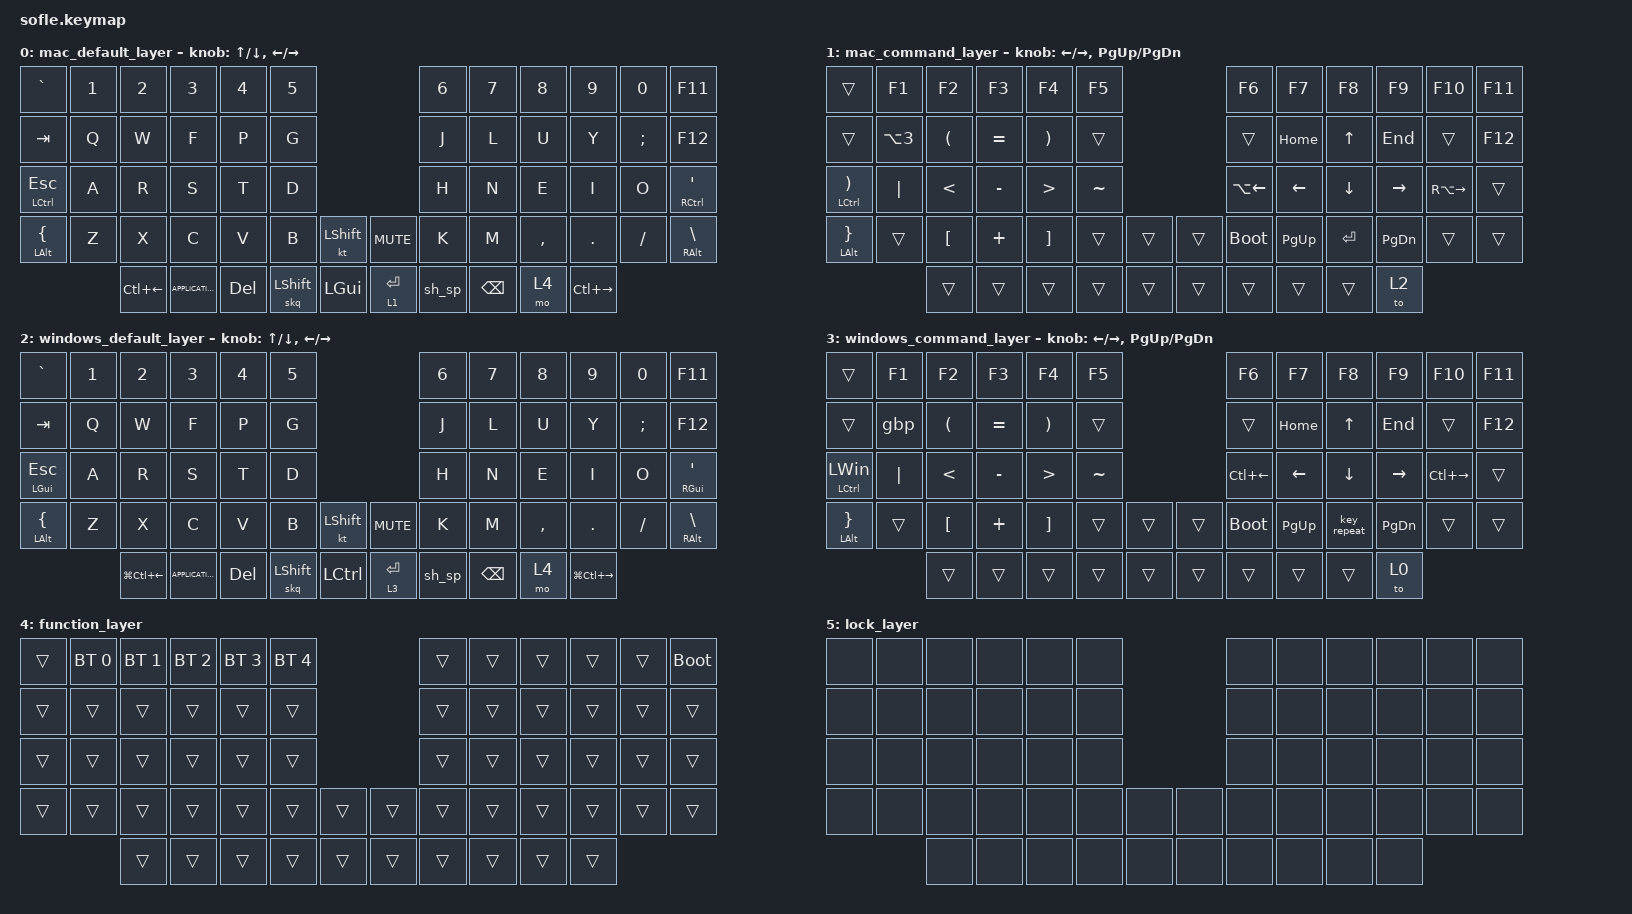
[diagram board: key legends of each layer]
/*
 * Copyright (c) 2020 The ZMK Contributors
 *
 * SPDX-License-Identifier: MIT
 */

#include <behaviors.dtsi>
#include <dt-bindings/zmk/keys.h>
#include <dt-bindings/zmk/keys.h>
#include <dt-bindings/zmk/bt.h>

/ {
    sensors {
        compatible = "zmk,keymap-sensors";
        sensors = <&left_encoder &right_encoder>;
        triggers-per-rotation = <20>;
    };

    combos {
        compatible = "zmk,combos";

        Undo {
            bindings = <&kp LG(Z)>;
            key-positions = <15 14>;
            layers = <0 1>;
        };

        Backspace {
            bindings = <&kp LA(BACKSPACE)>;
            key-positions = <20 21>;
            layers = <0 1>;
        };

        Undo_windows {
            bindings = <&kp LC(Z)>;
            key-positions = <14 15>;
            layers = <2 3>;
        };

        Backspace_word_windows {
            bindings = <&kp LC(BACKSPACE)>;
            key-positions = <20 21>;
            layers = <2 3>;
        };

        Lock {
            bindings = <&tog 5>;
            key-positions = <0 50 59 11>;
        };

        Normal_mode {
            bindings = <&norm>;
            key-positions = <47 46>;
            layers = <>;
        };
    };

    behaviors {
        mo_tog: behavior_mo_tog {
            compatible = "zmk,behavior-hold-tap";
            label = "mo_tog";
            #binding-cells = <2>;
            flavor = "hold-preferred";
            tapping-term-ms = <200>;
            bindings =
                <&mo>,
                <&tog>;
        };
        lh: behavior_layer_hold {
            compatible = "zmk,behavior-hold-tap";
            label = "layer_hold_tap";
            #binding-cells = <2>;
            flavor = "hold-preferred";
            tapping-term-ms = <200>;
            bindings =
                <&mo>,
                <&kp>;
        };
        sh_sp: behavior_shifted_key {
            compatible = "zmk,behavior-mod-morph";
            label = "SHIFTED_KEY";
            #binding-cells = <0>;
            bindings =
                <&kp SPACE>,
                <&kp UNDERSCORE>;

            mods = <(MOD_LSFT|MOD_RSFT)>;
        };
        skq: sticky_key_quick_release {
            compatible = "zmk,behavior-sticky-key";
            label = "STICKY_KEY_QUICK_RELEASE";
            #binding-cells = <1>;
            bindings = <&kp>;
            release-after-ms = <1000>;
            quick-release;
        };
        gqt: global-quick-tap {
            compatible = "zmk,behavior-hold-tap";
            label = "GLOBAL_QUICK_TAP";
            #binding-cells = <2>;
            flavor = "tap-preferred";
            tapping-term-ms = <200>;
            quick-tap-ms = <125>;
            global-quick-tap;
            bindings =
                <&kp>,
                <&kp>;
        };
    };

    macros {
        gbp: gbp {
            label = "GBP";
            compatible = "zmk,behavior-macro";
            #binding-cells = <0>;
            wait-ms = <40>;
            tap-ms = <40>;
            bindings =
                <&macro_press>,
                <&kp LALT>,
                <&macro_tap>,
                <&kp KP_N0 &kp KP_N1 &kp KP_N6 &kp KP_N3>,
                <&macro_release>,
                <&kp LALT>;
        };
        norm: enter_normal_mode {
            label = "enter_normal_mode";
            compatible = "zmk,behavior-macro";
            #binding-cells = <0>;
            wait-ms = <40>;
            tap-ms = <40>;
            bindings =
                <&macro_press>,
                <&kp J>,
                <&macro_tap>,
                <&kp K>,
                <&macro_release>,
                <&kp J>;
        };
    };

    keymap {
        compatible = "zmk,keymap";

        mac_default_layer {
            bindings = <
               &kp GRAVE  &kp N1        &kp N2             &kp N3      &kp N4       &kp N5                             &kp N6         &kp N7     &kp N8         &kp N9         &kp N0                          &kp F11
                 &kp TAB   &kp Q         &kp W              &kp F       &kp P        &kp G                              &kp J          &kp L      &kp U          &kp Y  &kp SEMICOLON                          &kp F12
   &gqt LEFT_CONTROL ESC   &kp A         &kp R              &kp S       &kp T        &kp D                              &kp H          &kp N      &kp E          &kp I          &kp O  &gqt RIGHT_CONTROL SINGLE_QUOTE
 &mt LEFT_ALT LEFT_BRACE   &kp Z         &kp X              &kp C       &kp V        &kp B    &kt LSHIFT   &kp K_MUTE   &kp K          &kp M  &kp COMMA        &kp DOT       &kp FSLH          &mt RIGHT_ALT BACKSLASH
                                  &kp LC(LEFT)  &kp K_APPLICATION  &kp DELETE  &skq LSHIFT  &kp LEFT_GUI  &lh 1 ENTER  &sh_sp  &kp BACKSPACE      &mo 4  &kp LC(RIGHT)
            >;

            sensor-bindings = <&inc_dec_kp UP DOWN &inc_dec_kp LEFT RIGHT>;
        };

        mac_command_layer {
            bindings = <
                              &trans            &kp F1                &kp F2     &kp F3                 &kp F4     &kp F5                        &kp F6       &kp F7     &kp F8         &kp F9        &kp F10  &kp F11
                              &trans  &kp LA(NUMBER_3)  &kp LEFT_PARENTHESIS  &kp EQUAL  &kp RIGHT_PARENTHESIS     &trans                        &trans     &kp HOME     &kp UP        &kp END         &trans  &kp F12
 &gqt LEFT_CONTROL RIGHT_PARENTHESIS          &kp PIPE         &kp LESS_THAN  &kp MINUS       &kp GREATER_THAN  &kp TILDE                  &kp LA(LEFT)     &kp LEFT   &kp DOWN      &kp RIGHT  &kp RA(RIGHT)   &trans
            &mt LEFT_ALT RIGHT_BRACE            &trans      &kp LEFT_BRACKET   &kp PLUS      &kp RIGHT_BRACKET     &trans  &trans  &trans   &bootloader  &kp PAGE_UP  &kp ENTER  &kp PAGE_DOWN         &trans   &trans
                                                                      &trans     &trans                 &trans     &trans  &trans  &trans        &trans       &trans     &trans          &to 2
            >;

            sensor-bindings = <&inc_dec_kp LEFT RIGHT &inc_dec_kp PG_UP PG_DN>;
        };

        windows_default_layer {
            bindings = <
               &kp GRAVE  &kp N1            &kp N2             &kp N3      &kp N4       &kp N5                                 &kp N6         &kp N7     &kp N8             &kp N9         &kp N0                      &kp F11
                 &kp TAB   &kp Q             &kp W              &kp F       &kp P        &kp G                                  &kp J          &kp L      &kp U              &kp Y  &kp SEMICOLON                      &kp F12
       &gqt LEFT_GUI ESC   &kp A             &kp R              &kp S       &kp T        &kp D                                  &kp H          &kp N      &kp E              &kp I          &kp O  &gqt RIGHT_GUI SINGLE_QUOTE
 &mt LEFT_ALT LEFT_BRACE   &kp Z             &kp X              &kp C       &kp V        &kp B        &kt LSHIFT   &kp K_MUTE   &kp K          &kp M  &kp COMMA            &kp DOT       &kp FSLH      &mt RIGHT_ALT BACKSLASH
                                  &kp LG(LC(LEFT))  &kp K_APPLICATION  &kp DELETE  &skq LSHIFT  &kp LEFT_CONTROL  &lh 3 ENTER  &sh_sp  &kp BACKSPACE      &mo 4  &kp LG(LC(RIGHT))
            >;

            sensor-bindings = <&inc_dec_kp UP DOWN &inc_dec_kp LEFT RIGHT>;
        };

        windows_command_layer {
            bindings = <
                    &trans    &kp F1                &kp F2     &kp F3                 &kp F4     &kp F5                        &kp F6       &kp F7       &kp F8         &kp F9        &kp F10  &kp F11
                    &trans      &gbp  &kp LEFT_PARENTHESIS  &kp EQUAL  &kp RIGHT_PARENTHESIS     &trans                        &trans     &kp HOME       &kp UP        &kp END         &trans  &kp F12
 &mt LEFT_CONTROL LEFT_WIN  &kp PIPE         &kp LESS_THAN  &kp MINUS       &kp GREATER_THAN  &kp TILDE                  &kp LC(LEFT)     &kp LEFT     &kp DOWN      &kp RIGHT  &kp LC(RIGHT)   &trans
  &mt LEFT_ALT RIGHT_BRACE    &trans      &kp LEFT_BRACKET   &kp PLUS      &kp RIGHT_BRACKET     &trans  &trans  &trans   &bootloader  &kp PAGE_UP  &key_repeat  &kp PAGE_DOWN         &trans   &trans
                                                    &trans     &trans                 &trans     &trans  &trans  &trans        &trans       &trans       &trans          &to 0
            >;

            sensor-bindings = <&inc_dec_kp LEFT RIGHT &inc_dec_kp PG_UP PG_DN>;
        };

        function_layer {
            bindings = <
 &trans  &bt BT_SEL 0  &bt BT_SEL 1  &bt BT_SEL 2  &bt BT_SEL 3  &bt BT_SEL 4                  &trans  &trans  &trans  &trans  &trans  &bootloader
 &trans        &trans        &trans        &trans        &trans        &trans                  &trans  &trans  &trans  &trans  &trans       &trans
 &trans        &trans        &trans        &trans        &trans        &trans                  &trans  &trans  &trans  &trans  &trans       &trans
 &trans        &trans        &trans        &trans        &trans        &trans  &trans  &trans  &trans  &trans  &trans  &trans  &trans       &trans
                             &trans        &trans        &trans        &trans  &trans  &trans  &trans  &trans  &trans  &trans
            >;
        };

        lock_layer {
            bindings = <
  &none   &none   &none   &none   &none   &none                   &none   &none   &none   &none   &none   &none
  &none   &none   &none   &none   &none   &none                   &none   &none   &none   &none   &none   &none
  &none   &none   &none   &none   &none   &none                   &none   &none   &none   &none   &none   &none
  &none   &none   &none   &none   &none   &none   &none   &none   &none   &none   &none   &none   &none   &none
                  &none   &none   &none   &none   &none   &none   &none   &none   &none   &none
            >;
        };
    };
};

&left_encoder {
    steps = <80>; // set this to be 4x triggers-per-rotation first
                  // and then if that doesn't trigger one press per detent,
                  // try 2x or 1x.
};

&right_encoder {
    steps = <80>; // set this to be 4x triggers-per-rotation first
                  // and then if that doesn't trigger one press per detent,
                  // try 2x or 1x.
};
